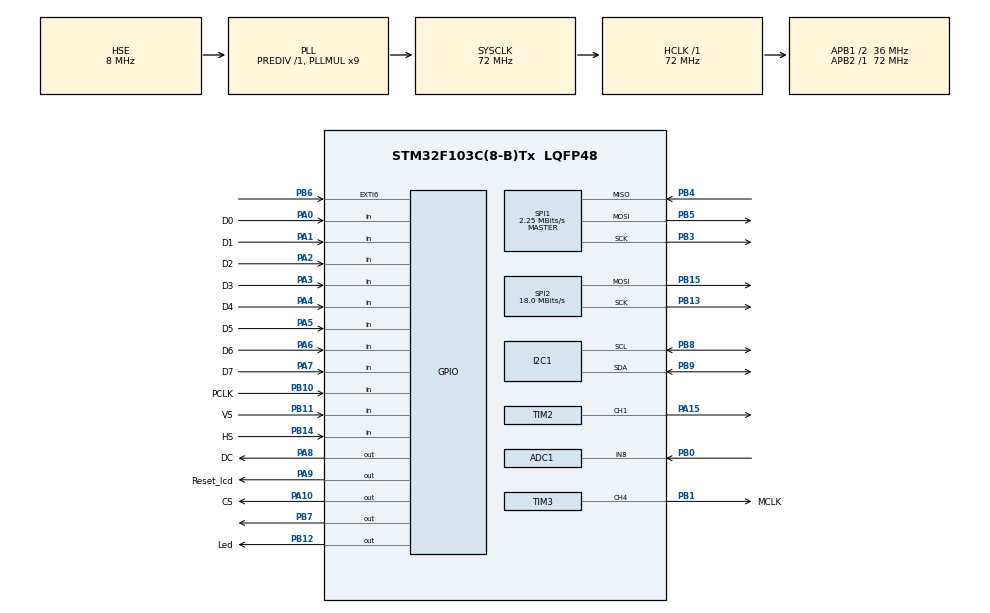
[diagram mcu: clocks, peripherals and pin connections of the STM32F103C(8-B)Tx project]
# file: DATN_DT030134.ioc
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ADC1.Channel-2\#ChannelRegularConversion=ADC_CHANNEL_8
ADC1.ContinuousConvMode=ENABLE
ADC1.NbrOfConversionFlag=1
ADC1.Rank-2\#ChannelRegularConversion=1
ADC1.SamplingTime-2\#ChannelRegularConversion=ADC_SAMPLETIME_239CYCLES_5
ADC1.master=1
Dma.ADC1.0.Direction=DMA_PERIPH_TO_MEMORY
Dma.ADC1.0.Instance=DMA1_Channel1
Dma.ADC1.0.MemDataAlignment=DMA_MDATAALIGN_HALFWORD
Dma.ADC1.0.MemInc=DMA_MINC_ENABLE
Dma.ADC1.0.Mode=DMA_CIRCULAR
Dma.ADC1.0.PeriphDataAlignment=DMA_PDATAALIGN_HALFWORD
Dma.ADC1.0.PeriphInc=DMA_PINC_DISABLE
Dma.ADC1.0.Priority=DMA_PRIORITY_VERY_HIGH
Dma.Request0=ADC1
Dma.Request1=TIM4_UP
Dma.TIM4_UP.1.Direction=DMA_MEMORY_TO_PERIPH
Dma.TIM4_UP.1.Instance=DMA1_Channel7
Dma.TIM4_UP.1.MemDataAlignment=DMA_MDATAALIGN_BYTE
Dma.TIM4_UP.1.MemInc=DMA_MINC_ENABLE
Dma.TIM4_UP.1.Mode=DMA_NORMAL
Dma.TIM4_UP.1.PeriphDataAlignment=DMA_PDATAALIGN_WORD
Dma.TIM4_UP.1.PeriphInc=DMA_PINC_DISABLE
Dma.TIM4_UP.1.Priority=DMA_PRIORITY_VERY_HIGH
FATFS._FS_LOCK=2
FATFS._FS_REENTRANT=0
FATFS._MAX_SS=512
FATFS._USE_LFN=0
FREERTOS.BinarySemaphores01=myBinarySem1,Dynamic,NULL
FREERTOS.Mutexes01=myMutex1,Dynamic,NULL
FREERTOS.Tasks01=defaultTask,3,128,StartDefaultTask,Default,NULL,Dynamic,NULL,NULL;myTask1,2,128,StartTask1,Default,NULL,Dynamic,NULL,NULL
I2C1.OwnAddress=0
Mcu.Family=STM32F1
Mcu.Name=STM32F103C(8-B)Tx
Mcu.Package=LQFP48
NVIC.DMA1_Channel1_IRQn=true\:5\:0\:false\:false\:true\:true\:false\:true\:true
NVIC.DMA1_Channel7_IRQn=true\:5\:0\:false\:false\:true\:true\:false\:true\:true
NVIC.EXTI9_5_IRQn=true\:5\:0\:false\:false\:true\:true\:true\:true\:true
NVIC.PriorityGroup=NVIC_PRIORITYGROUP_4
NVIC.TIM1_UP_IRQn=true\:15\:0\:false\:false\:true\:false\:false\:true\:true
NVIC.TimeBase=TIM1_UP_IRQn
NVIC.TimeBaseIP=TIM1
PA0-WKUP.GPIO_Label=D0
PA0-WKUP.Signal=GPIO_Input
PA1.GPIO_Label=D1
PA1.Signal=GPIO_Input
PA10.GPIO_Label=CS
PA10.GPIO_Speed=GPIO_SPEED_FREQ_LOW
PA10.Signal=GPIO_Output
PA13.Mode=Serial_Wire
PA13.Signal=SYS_JTMS-SWDIO
PA14.Mode=Serial_Wire
PA14.Signal=SYS_JTCK-SWCLK
PA15.Signal=S_TIM2_CH1_ETR
PA2.GPIO_Label=D2
PA2.Signal=GPIO_Input
PA3.GPIO_Label=D3
PA3.Signal=GPIO_Input
PA4.GPIO_Label=D4
PA4.Signal=GPIO_Input
PA5.GPIO_Label=D5
PA5.Signal=GPIO_Input
PA6.GPIO_Label=D6
PA6.Signal=GPIO_Input
PA7.GPIO_Label=D7
PA7.Signal=GPIO_Input
PA8.GPIO_Label=DC
PA8.Signal=GPIO_Output
PA9.GPIO_Label=Reset_lcd
PA9.Signal=GPIO_Output
PB0.Signal=ADCx_IN8
PB1.GPIO_Label=MCLK
PB1.Signal=S_TIM3_CH4
PB10.GPIO_Label=PCLK
PB10.Signal=GPIO_Input
PB11.GPIO_Label=VS
PB11.Signal=GPIO_Input
PB12.GPIO_Label=Led
PB12.Signal=GPIO_Output
PB13.Mode=TX_Only_Simplex_Unidirect_Master
PB13.Signal=SPI2_SCK
PB14.GPIO_Label=HS
PB14.Signal=GPIO_Input
PB15.Mode=TX_Only_Simplex_Unidirect_Master
PB15.Signal=SPI2_MOSI
PB3.Mode=Full_Duplex_Master
PB3.Signal=SPI1_SCK
PB4.Mode=Full_Duplex_Master
PB4.Signal=SPI1_MISO
PB5.Mode=Full_Duplex_Master
PB5.Signal=SPI1_MOSI
PB6.GPIO_PuPd=GPIO_PULLDOWN
PB6.Signal=GPXTI6
PB7.Signal=GPIO_Output
PB8.Mode=I2C
PB8.Signal=I2C1_SCL
PB9.Mode=I2C
PB9.Signal=I2C1_SDA
PD0-OSC_IN.Mode=HSE-External-Oscillator
PD0-OSC_IN.Signal=RCC_OSC_IN
PD1-OSC_OUT.Mode=HSE-External-Oscillator
PD1-OSC_OUT.Signal=RCC_OSC_OUT
ProjectManager.HeapSize=0x200
ProjectManager.StackSize=0x400
ProjectManager.TargetToolchain=MDK-ARM V5.32
RCC.ADCPresc=RCC_ADCPCLK2_DIV6
RCC.AHBFreq_Value=72000000
RCC.APB1CLKDivider=RCC_HCLK_DIV2
RCC.APB1Freq_Value=36000000
RCC.APB1TimFreq_Value=72000000
RCC.APB2Freq_Value=72000000
RCC.APB2TimFreq_Value=72000000
RCC.HCLKFreq_Value=72000000
RCC.PLLMUL=RCC_PLL_MUL9
RCC.PLLSourceVirtual=RCC_PLLSOURCE_HSE
RCC.SYSCLKFreq_VALUE=72000000
RCC.SYSCLKSource=RCC_SYSCLKSOURCE_PLLCLK
RCC.USBFreq_Value=72000000
SH.ADCx_IN8.0=ADC1_IN8,IN8
SH.S_TIM2_CH1_ETR.0=TIM2_CH1,PWM Generation1 CH1
SH.S_TIM3_CH4.0=TIM3_CH4,PWM Generation4 CH4
SPI1.BaudRatePrescaler=SPI_BAUDRATEPRESCALER_32
SPI1.CalculateBaudRate=2.25 MBits/s
SPI1.Direction=SPI_DIRECTION_2LINES
SPI1.Mode=SPI_MODE_MASTER
SPI1.VirtualType=VM_MASTER
SPI2.BaudRatePrescaler=SPI_BAUDRATEPRESCALER_2
SPI2.CalculateBaudRate=18.0 MBits/s
SPI2.Direction=SPI_DIRECTION_2LINES
SPI2.Mode=SPI_MODE_MASTER
SPI2.VirtualType=VM_MASTER
TIM2.Channel-PWM\ Generation1\ CH1=TIM_CHANNEL_1
TIM2.Period=255
TIM3.AutoReloadPreload=TIM_AUTORELOAD_PRELOAD_ENABLE
TIM3.Channel-PWM\ Generation4\ CH4=TIM_CHANNEL_4
TIM3.Period=3
TIM3.Prescaler=1
TIM4.Period=1599
TIM4.Prescaler=0
VP_FATFS_VS_Generic.Mode=User_defined
VP_FREERTOS_VS_CMSIS_V1.Mode=CMSIS_V1
VP_SYS_VS_tim1.Mode=TIM1
VP_TIM3_VS_ClockSourceINT.Mode=Internal
VP_TIM4_VS_ClockSourceINT.Mode=Internal
board=custom

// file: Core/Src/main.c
/* USER CODE BEGIN Header */
/**
  ******************************************************************************
  * @file           : main.c
  * @brief          : Main program body
  ******************************************************************************
  * @attention
  *
  * Copyright (c) 2024 STMicroelectronics.
  * All rights reserved.
  *
  * This software is licensed under terms that can be found in the LICENSE file
  * in the root directory of this software component.
  * If no LICENSE file comes with this software, it is provided AS-IS.
  *
  ******************************************************************************
  */
/* USER CODE END Header */
#include "main.h"
#include "cmsis_os.h"
#include "fatfs.h"

/* USER CODE BEGIN Includes */
#include <stdio.h>
#include <string.h>
#include "st7735s.h"
#include "ov7670.h"
#include "fatfs_sd.h"
/* USER CODE END Includes */

/* USER CODE BEGIN PTD */
typedef struct {
    uint8_t adc_status : 1; // 0 = write adc to mem, 1 = emit pwm
    uint16_t count : 14;
		uint8_t status_adc_start_dma : 1;
} adc_follow;
/* USER CODE END PTD */

/* USER CODE BEGIN PD */
#define ADC_SIZE  3584
/* USER CODE END PD */

ADC_HandleTypeDef hadc1;
DMA_HandleTypeDef hdma_adc1;

I2C_HandleTypeDef hi2c1;

SPI_HandleTypeDef hspi1;
SPI_HandleTypeDef hspi2;

TIM_HandleTypeDef htim2;
TIM_HandleTypeDef htim3;
TIM_HandleTypeDef htim4;
DMA_HandleTypeDef hdma_tim4_up;

osThreadId defaultTaskHandle;
osThreadId myTask1Handle;
osMutexId myMutex1Handle;
osSemaphoreId myBinarySem1Handle;
/* USER CODE BEGIN PV */
adc_follow adc_fl;
uint8_t adcBuff[ADC_SIZE];
uint16_t adcBuff0[ADC_SIZE];

FATFS   fs;      // file system
FIL     fil;     // File
FRESULT fresult; // result

/* USER CODE END PV */

void SystemClock_Config(void);
static void MX_GPIO_Init(void);
static void MX_DMA_Init(void);
static void MX_SPI2_Init(void);
static void MX_I2C1_Init(void);
static void MX_ADC1_Init(void);
static void MX_TIM3_Init(void);
static void MX_TIM4_Init(void);
static void MX_SPI1_Init(void);
static void MX_TIM2_Init(void);
void StartDefaultTask(void const * argument);
void StartTask1(void const * argument);

/* USER CODE BEGIN PFP */
static void time4_ReInit_8KHz(void);
/* USER CODE END PFP */

/* USER CODE BEGIN 0 */
void HAL_GPIO_EXTI_Callback(uint16_t GPIO_Pin){
	if(GPIO_Pin == GPIO_PIN_6){
		f_close(&fil);if(fresult!=FR_OK)return;
		HAL_SPI_DeInit(&hspi1);
	}
}
/* USER CODE END 0 */

int main(void)
{
  /* USER CODE BEGIN 1 */
	adc_fl.adc_status = 0;
	adc_fl.count = 0;
	adc_fl.status_adc_start_dma = 0;
  /* USER CODE END 1 */

  /* MCU Configuration--------------------------------------------------------*/

  /* Reset of all peripherals, Initializes the Flash interface and the Systick. */
  HAL_Init();

  /* Configure the system clock */
  SystemClock_Config();

  /* Initialize all configured peripherals */
  MX_GPIO_Init();
  MX_DMA_Init();
  MX_SPI2_Init();
  MX_I2C1_Init();
  MX_ADC1_Init();
  MX_TIM3_Init();
  MX_TIM4_Init();
  MX_SPI1_Init();
  MX_FATFS_Init();
  MX_TIM2_Init();
  /* USER CODE BEGIN 2 */
	HAL_GPIO_WritePin(GPIOB,Led_Pin,ON_LED);
	HAL_GPIO_WritePin(GPIOA,Reset_lcd_Pin,NO_RESX);

	HAL_TIM_PWM_Start(&htim3, TIM_CHANNEL_4);      // Start emit pulse  with frequency 3MHz
	__HAL_TIM_SetCompare(&htim3,TIM_CHANNEL_4,2);  // adjust PWM 50% duty cycle

	ST7735S_Init();             // initial Screen
	OV7670_Init();			        // initial Camera
	HAL_I2C_MspDeInit(&hi2c1);  // disable I2C
	time4_ReInit_8KHz();

	fresult = f_mount(&fs, "/", 1);if(fresult!=FR_OK)return 0;
	fresult = f_open(&fil, "data.txt", FA_OPEN_ALWAYS | FA_READ | FA_WRITE);if(fresult!=FR_OK)return 0;
	f_lseek(&fil,f_size(&fil));if(fresult!=FR_OK)return 0;
//	f_puts("abcdef", &fil);
//	fresult = f_close(&fil);

	HAL_TIM_PWM_Start(&htim2,TIM_CHANNEL_1);
	__HAL_TIM_ENABLE_DMA(&htim4, TIM_DMA_UPDATE); //bat DMA tim up cho timer4
	HAL_TIM_Base_Start_IT(&htim4); // Khoi dong timer o che do ngat (khong kich hoat ngat)
  /* USER CODE END 2 */

  /* Create the mutex(es) */
  /* definition and creation of myMutex1 */
  osMutexDef(myMutex1);
  myMutex1Handle = osMutexCreate(osMutex(myMutex1));

  /* Create the semaphores(s) */
  /* definition and creation of myBinarySem1 */
  osSemaphoreDef(myBinarySem1);
  myBinarySem1Handle = osSemaphoreCreate(osSemaphore(myBinarySem1), 1);

  /* Create the thread(s) */
  /* definition and creation of defaultTask */
  osThreadDef(defaultTask, StartDefaultTask, osPriorityRealtime, 0, 128);
  defaultTaskHandle = osThreadCreate(osThread(defaultTask), NULL);

  /* definition and creation of myTask1 */
  osThreadDef(myTask1, StartTask1, osPriorityHigh, 0, 128);
  myTask1Handle = osThreadCreate(osThread(myTask1), NULL);

  /* Start scheduler */
  osKernelStart();

  /* We should never get here as control is now taken by the scheduler */
  /* Infinite loop */
  while (1)
  {

  }
}

void SystemClock_Config(void)
{
  RCC_OscInitTypeDef RCC_OscInitStruct = {0};
  RCC_ClkInitTypeDef RCC_ClkInitStruct = {0};
  RCC_PeriphCLKInitTypeDef PeriphClkInit = {0};

  /** Initializes the RCC Oscillators according to the specified parameters
  * in the RCC_OscInitTypeDef structure.
  */
  RCC_OscInitStruct.OscillatorType = RCC_OSCILLATORTYPE_HSE;
  RCC_OscInitStruct.HSEState = RCC_HSE_ON;
  RCC_OscInitStruct.HSEPredivValue = RCC_HSE_PREDIV_DIV1;
  RCC_OscInitStruct.HSIState = RCC_HSI_ON;
  RCC_OscInitStruct.PLL.PLLState = RCC_PLL_ON;
  RCC_OscInitStruct.PLL.PLLSource = RCC_PLLSOURCE_HSE;
  RCC_OscInitStruct.PLL.PLLMUL = RCC_PLL_MUL9;
  if (HAL_RCC_OscConfig(&RCC_OscInitStruct) != HAL_OK)
  {
    Error_Handler();
  }

  /** Initializes the CPU, AHB and APB buses clocks
  */
  RCC_ClkInitStruct.ClockType = RCC_CLOCKTYPE_HCLK|RCC_CLOCKTYPE_SYSCLK
                              |RCC_CLOCKTYPE_PCLK1|RCC_CLOCKTYPE_PCLK2;
  RCC_ClkInitStruct.SYSCLKSource = RCC_SYSCLKSOURCE_PLLCLK;
  RCC_ClkInitStruct.AHBCLKDivider = RCC_SYSCLK_DIV1;
  RCC_ClkInitStruct.APB1CLKDivider = RCC_HCLK_DIV2;
  RCC_ClkInitStruct.APB2CLKDivider = RCC_HCLK_DIV1;

  if (HAL_RCC_ClockConfig(&RCC_ClkInitStruct, FLASH_LATENCY_2) != HAL_OK)
  {
    Error_Handler();
  }
  PeriphClkInit.PeriphClockSelection = RCC_PERIPHCLK_ADC;
  PeriphClkInit.AdcClockSelection = RCC_ADCPCLK2_DIV6;
  if (HAL_RCCEx_PeriphCLKConfig(&PeriphClkInit) != HAL_OK)
  {
    Error_Handler();
  }
}

static void MX_ADC1_Init(void)
{

  ADC_ChannelConfTypeDef sConfig = {0};

  /** Common config
  */
  hadc1.Instance = ADC1;
  hadc1.Init.ScanConvMode = ADC_SCAN_DISABLE;
  hadc1.Init.ContinuousConvMode = ENABLE;
  hadc1.Init.DiscontinuousConvMode = DISABLE;
  hadc1.Init.ExternalTrigConv = ADC_SOFTWARE_START;
  hadc1.Init.DataAlign = ADC_DATAALIGN_RIGHT;
  hadc1.Init.NbrOfConversion = 1;
  if (HAL_ADC_Init(&hadc1) != HAL_OK)
  {
    Error_Handler();
  }

  /** Configure Regular Channel
  */
  sConfig.Channel = ADC_CHANNEL_8;
  sConfig.Rank = ADC_REGULAR_RANK_1;
  sConfig.SamplingTime = ADC_SAMPLETIME_239CYCLES_5;
  if (HAL_ADC_ConfigChannel(&hadc1, &sConfig) != HAL_OK)
  {
    Error_Handler();
  }

}

static void MX_I2C1_Init(void)
{

  hi2c1.Instance = I2C1;
  hi2c1.Init.ClockSpeed = 100000;
  hi2c1.Init.DutyCycle = I2C_DUTYCYCLE_2;
  hi2c1.Init.OwnAddress1 = 0;
  hi2c1.Init.AddressingMode = I2C_ADDRESSINGMODE_7BIT;
  hi2c1.Init.DualAddressMode = I2C_DUALADDRESS_DISABLE;
  hi2c1.Init.OwnAddress2 = 0;
  hi2c1.Init.GeneralCallMode = I2C_GENERALCALL_DISABLE;
  hi2c1.Init.NoStretchMode = I2C_NOSTRETCH_DISABLE;
  if (HAL_I2C_Init(&hi2c1) != HAL_OK)
  {
    Error_Handler();
  }
  /* USER CODE BEGIN I2C1_Init 2 */
	if(I2C1->SR2 & I2C_SR2_BUSY){error_led();}
  /* USER CODE END I2C1_Init 2 */

}

static void MX_SPI1_Init(void)
{

  /* SPI1 parameter configuration*/
  hspi1.Instance = SPI1;
  hspi1.Init.Mode = SPI_MODE_MASTER;
  hspi1.Init.Direction = SPI_DIRECTION_2LINES;
  hspi1.Init.DataSize = SPI_DATASIZE_8BIT;
  hspi1.Init.CLKPolarity = SPI_POLARITY_LOW;
  hspi1.Init.CLKPhase = SPI_PHASE_1EDGE;
  hspi1.Init.NSS = SPI_NSS_SOFT;
  hspi1.Init.BaudRatePrescaler = SPI_BAUDRATEPRESCALER_32;
  hspi1.Init.FirstBit = SPI_FIRSTBIT_MSB;
  hspi1.Init.TIMode = SPI_TIMODE_DISABLE;
  hspi1.Init.CRCCalculation = SPI_CRCCALCULATION_DISABLE;
  hspi1.Init.CRCPolynomial = 10;
  if (HAL_SPI_Init(&hspi1) != HAL_OK)
  {
    Error_Handler();
  }

}

static void MX_SPI2_Init(void)
{

  /* SPI2 parameter configuration*/
  hspi2.Instance = SPI2;
  hspi2.Init.Mode = SPI_MODE_MASTER;
  hspi2.Init.Direction = SPI_DIRECTION_2LINES;
  hspi2.Init.DataSize = SPI_DATASIZE_8BIT;
  hspi2.Init.CLKPolarity = SPI_POLARITY_LOW;
  hspi2.Init.CLKPhase = SPI_PHASE_1EDGE;
  hspi2.Init.NSS = SPI_NSS_SOFT;
  hspi2.Init.BaudRatePrescaler = SPI_BAUDRATEPRESCALER_2;
  hspi2.Init.FirstBit = SPI_FIRSTBIT_MSB;
  hspi2.Init.TIMode = SPI_TIMODE_DISABLE;
  hspi2.Init.CRCCalculation = SPI_CRCCALCULATION_DISABLE;
  hspi2.Init.CRCPolynomial = 10;
  if (HAL_SPI_Init(&hspi2) != HAL_OK)
  {
    Error_Handler();
  }

}

static void MX_TIM2_Init(void)
{

  TIM_MasterConfigTypeDef sMasterConfig = {0};
  TIM_OC_InitTypeDef sConfigOC = {0};

  htim2.Instance = TIM2;
  htim2.Init.Prescaler = 0;
  htim2.Init.CounterMode = TIM_COUNTERMODE_UP;
  htim2.Init.Period = 255;
  htim2.Init.ClockDivision = TIM_CLOCKDIVISION_DIV1;
  htim2.Init.AutoReloadPreload = TIM_AUTORELOAD_PRELOAD_DISABLE;
  if (HAL_TIM_PWM_Init(&htim2) != HAL_OK)
  {
    Error_Handler();
  }
  sMasterConfig.MasterOutputTrigger = TIM_TRGO_RESET;
  sMasterConfig.MasterSlaveMode = TIM_MASTERSLAVEMODE_DISABLE;
  if (HAL_TIMEx_MasterConfigSynchronization(&htim2, &sMasterConfig) != HAL_OK)
  {
    Error_Handler();
  }
  sConfigOC.OCMode = TIM_OCMODE_PWM1;
  sConfigOC.Pulse = 0;
  sConfigOC.OCPolarity = TIM_OCPOLARITY_HIGH;
  sConfigOC.OCFastMode = TIM_OCFAST_DISABLE;
  if (HAL_TIM_PWM_ConfigChannel(&htim2, &sConfigOC, TIM_CHANNEL_1) != HAL_OK)
  {
    Error_Handler();
  }
  HAL_TIM_MspPostInit(&htim2);

}

static void MX_TIM3_Init(void)
{

  TIM_ClockConfigTypeDef sClockSourceConfig = {0};
  TIM_MasterConfigTypeDef sMasterConfig = {0};
  TIM_OC_InitTypeDef sConfigOC = {0};

  htim3.Instance = TIM3;
  htim3.Init.Prescaler = 1;
  htim3.Init.CounterMode = TIM_COUNTERMODE_UP;
  htim3.Init.Period = 3;
  htim3.Init.ClockDivision = TIM_CLOCKDIVISION_DIV1;
  htim3.Init.AutoReloadPreload = TIM_AUTORELOAD_PRELOAD_ENABLE;
  if (HAL_TIM_Base_Init(&htim3) != HAL_OK)
  {
    Error_Handler();
  }
  sClockSourceConfig.ClockSource = TIM_CLOCKSOURCE_INTERNAL;
  if (HAL_TIM_ConfigClockSource(&htim3, &sClockSourceConfig) != HAL_OK)
  {
    Error_Handler();
  }
  if (HAL_TIM_PWM_Init(&htim3) != HAL_OK)
  {
    Error_Handler();
  }
  sMasterConfig.MasterOutputTrigger = TIM_TRGO_RESET;
  sMasterConfig.MasterSlaveMode = TIM_MASTERSLAVEMODE_DISABLE;
  if (HAL_TIMEx_MasterConfigSynchronization(&htim3, &sMasterConfig) != HAL_OK)
  {
    Error_Handler();
  }
  sConfigOC.OCMode = TIM_OCMODE_PWM1;
  sConfigOC.Pulse = 0;
  sConfigOC.OCPolarity = TIM_OCPOLARITY_HIGH;
  sConfigOC.OCFastMode = TIM_OCFAST_DISABLE;
  if (HAL_TIM_PWM_ConfigChannel(&htim3, &sConfigOC, TIM_CHANNEL_4) != HAL_OK)
  {
    Error_Handler();
  }
  HAL_TIM_MspPostInit(&htim3);

}

static void MX_TIM4_Init(void)
{

  TIM_ClockConfigTypeDef sClockSourceConfig = {0};
  TIM_MasterConfigTypeDef sMasterConfig = {0};

  htim4.Instance = TIM4;
  htim4.Init.Prescaler = 0;
  htim4.Init.CounterMode = TIM_COUNTERMODE_UP;
  htim4.Init.Period = 1599;
  htim4.Init.ClockDivision = TIM_CLOCKDIVISION_DIV1;
  htim4.Init.AutoReloadPreload = TIM_AUTORELOAD_PRELOAD_DISABLE;
  if (HAL_TIM_Base_Init(&htim4) != HAL_OK)
  {
    Error_Handler();
  }
  sClockSourceConfig.ClockSource = TIM_CLOCKSOURCE_INTERNAL;
  if (HAL_TIM_ConfigClockSource(&htim4, &sClockSourceConfig) != HAL_OK)
  {
    Error_Handler();
  }
  sMasterConfig.MasterOutputTrigger = TIM_TRGO_RESET;
  sMasterConfig.MasterSlaveMode = TIM_MASTERSLAVEMODE_DISABLE;
  if (HAL_TIMEx_MasterConfigSynchronization(&htim4, &sMasterConfig) != HAL_OK)
  {
    Error_Handler();
  }

}

static void MX_DMA_Init(void)
{

  /* DMA controller clock enable */
  __HAL_RCC_DMA1_CLK_ENABLE();

  /* DMA interrupt init */
  /* DMA1_Channel1_IRQn interrupt configuration */
  HAL_NVIC_SetPriority(DMA1_Channel1_IRQn, 5, 0);
  HAL_NVIC_EnableIRQ(DMA1_Channel1_IRQn);
  /* DMA1_Channel7_IRQn interrupt configuration */
  HAL_NVIC_SetPriority(DMA1_Channel7_IRQn, 5, 0);
  HAL_NVIC_EnableIRQ(DMA1_Channel7_IRQn);

}

static void MX_GPIO_Init(void)
{
  GPIO_InitTypeDef GPIO_InitStruct = {0};

  /* GPIO Ports Clock Enable */
  __HAL_RCC_GPIOD_CLK_ENABLE();
  __HAL_RCC_GPIOA_CLK_ENABLE();
  __HAL_RCC_GPIOB_CLK_ENABLE();

  /*Configure GPIO pin Output Level */
  HAL_GPIO_WritePin(GPIOB, Led_Pin|GPIO_PIN_7, GPIO_PIN_RESET);

  /*Configure GPIO pin Output Level */
  HAL_GPIO_WritePin(GPIOA, DC_Pin|Reset_lcd_Pin|CS_Pin, GPIO_PIN_RESET);

  /*Configure GPIO pins : D0_Pin D1_Pin D2_Pin D3_Pin
                           D4_Pin D5_Pin D6_Pin D7_Pin */
  GPIO_InitStruct.Pin = D0_Pin|D1_Pin|D2_Pin|D3_Pin
                          |D4_Pin|D5_Pin|D6_Pin|D7_Pin;
  GPIO_InitStruct.Mode = GPIO_MODE_INPUT;
  GPIO_InitStruct.Pull = GPIO_NOPULL;
  HAL_GPIO_Init(GPIOA, &GPIO_InitStruct);

  /*Configure GPIO pins : PCLK_Pin VS_Pin HS_Pin */
  GPIO_InitStruct.Pin = PCLK_Pin|VS_Pin|HS_Pin;
  GPIO_InitStruct.Mode = GPIO_MODE_INPUT;
  GPIO_InitStruct.Pull = GPIO_NOPULL;
  HAL_GPIO_Init(GPIOB, &GPIO_InitStruct);

  /*Configure GPIO pins : Led_Pin PB7 */
  GPIO_InitStruct.Pin = Led_Pin|GPIO_PIN_7;
  GPIO_InitStruct.Mode = GPIO_MODE_OUTPUT_PP;
  GPIO_InitStruct.Pull = GPIO_NOPULL;
  GPIO_InitStruct.Speed = GPIO_SPEED_FREQ_LOW;
  HAL_GPIO_Init(GPIOB, &GPIO_InitStruct);

  /*Configure GPIO pins : DC_Pin Reset_lcd_Pin CS_Pin */
  GPIO_InitStruct.Pin = DC_Pin|Reset_lcd_Pin|CS_Pin;
  GPIO_InitStruct.Mode = GPIO_MODE_OUTPUT_PP;
  GPIO_InitStruct.Pull = GPIO_NOPULL;
  GPIO_InitStruct.Speed = GPIO_SPEED_FREQ_LOW;
  HAL_GPIO_Init(GPIOA, &GPIO_InitStruct);

  /*Configure GPIO pin : PB6 */
  GPIO_InitStruct.Pin = GPIO_PIN_6;
  GPIO_InitStruct.Mode = GPIO_MODE_IT_RISING;
  GPIO_InitStruct.Pull = GPIO_PULLDOWN;
  HAL_GPIO_Init(GPIOB, &GPIO_InitStruct);

  /* EXTI interrupt init*/
  HAL_NVIC_SetPriority(EXTI9_5_IRQn, 5, 0);
  HAL_NVIC_EnableIRQ(EXTI9_5_IRQn);

}

/* USER CODE BEGIN 4 */
void delay_us (uint16_t us){
	// Enable Timer 4 clock
	 RCC->APB1ENR |= RCC_APB1ENR_TIM4EN;

    // Configure Timer 4
    TIM4->CR1 = 0; // Reset control register 1
    TIM4->PSC = 72 - 1; // Set prescaler to get 1us resolution
    TIM4->ARR = us; // Set auto-reload value
    TIM4->EGR = TIM_EGR_UG; // Update generation
    TIM4->SR &= ~TIM_SR_UIF; // Clear update interrupt flag

    // Start Timer 4
    TIM4->CR1 |= TIM_CR1_CEN;

    // Wait until the update event occurs
    while (!(TIM4->SR & TIM_SR_UIF));

    // Stop Timer 4
    TIM4->CR1 &= ~TIM_CR1_CEN;

    // Disable Timer 4 clock
    RCC->APB1ENR &= ~RCC_APB1ENR_TIM4EN;

		time4_ReInit_8KHz();
}

void delay_ms(uint16_t ms){
	uint8_t count = 10;
	while(count > 0){
	// Enable Timer 4 clock
    RCC->APB1ENR |= RCC_APB1ENR_TIM4EN;

    // Configure Timer 4
    TIM4->CR1 = 0; // Reset control register 1
    TIM4->PSC = 7200 - 1; // Set prescaler to get 1ms resolution
    TIM4->ARR = ms; // Set auto-reload value
    TIM4->EGR = TIM_EGR_UG; // Update generation
    TIM4->SR &= ~TIM_SR_UIF; // Clear update interrupt flag

    // Start Timer 4
    TIM4->CR1 |= TIM_CR1_CEN;

    // Wait until the update event occurs
    while (!(TIM4->SR & TIM_SR_UIF));

    // Stop Timer 4
    TIM4->CR1 &= ~TIM_CR1_CEN;

    // Disable Timer 4 clock
    RCC->APB1ENR &= ~RCC_APB1ENR_TIM4EN;
		count--;
	}
	time4_ReInit_8KHz();
}

static void time4_ReInit_8KHz(void){
	RCC->APB1ENR |= RCC_APB1ENR_TIM4EN;
	TIM4->PSC = 0;                   // prescale
	TIM4->ARR = 1511;                  // counter period
	TIM4->CR1 &= ~TIM_CR1_DIR;          // up conting
	TIM4->DIER |= TIM_DIER_UIE;         // active interrup timer
//	TIM4->CR1 |= TIM_CR1_CEN;           // enable timer
//	NVIC_SetPriority(TIM4_IRQn, 0);
//	NVIC_EnableIRQ(TIM4_IRQn);
}

void error_led(void){
	RCC->APB2ENR |= 0x10;		// clock Enable register CD001171190.pdf -p.111
	GPIOC->CRH |= 0x00300000; // Port out data register CD001171190.pdf -p.171
	while(1){
		GPIOC->ODR ^= 0x2000;
		delay_ms(100);
	}
}

void HAL_ADC_ConvCpltCallback(ADC_HandleTypeDef *hadc){ // sau khi chuyen doi adc xong
	BaseType_t xHigherPriorityTaskWoken = pdFALSE;
//	if(adc_fl.status_adc_start_dma == 1){
//		adc_fl.status_adc_start_dma = 0;
//		HAL_ADC_Stop_DMA(hadc);
//	}
	adc_fl.adc_status = 1;
	xSemaphoreGiveFromISR(myBinarySem1Handle,&xHigherPriorityTaskWoken); // nhay vao task1
	portYIELD_FROM_ISR(xHigherPriorityTaskWoken); // bat dau nhay vao task co do uu tien cao nhat
}
/* USER CODE END 4 */

void StartDefaultTask(void const * argument)
{
  /* USER CODE BEGIN 5 */

  /* Infinite loop */
  for(;;)
  {
		if(xSemaphoreTake(myMutex1Handle, portMAX_DELAY)== pdTRUE){ // Lock Mutex
			//HAL_SPI_Init(&hspi1);
			#ifdef exchange_display
				__disable_irq();
				get_frame(160,120);
				__enable_irq();
			#else
				__disable_irq();
				get_frame(120,160);
				__enable_irq();
			#endif
			if(adc_fl.status_adc_start_dma == 0){
				adc_fl.status_adc_start_dma = 1;
				HAL_ADC_Start_DMA(&hadc1,(uint32_t*)adcBuff0, ADC_SIZE);
			}
			xSemaphoreGive(myMutex1Handle); // Unlock mutex
		}
    osDelay(1);
  }
  /* USER CODE END 5 */
}

void StartTask1(void const * argument)
{
  /* USER CODE BEGIN StartTask1 */
  /* Infinite loop */
  for(;;)
  {
		/* Wait for new audio data*/
		if(xSemaphoreTake(myBinarySem1Handle, portMAX_DELAY) == pdTRUE){
			// Lock mutex
			if(xSemaphoreTake(myMutex1Handle, portMAX_DELAY) == pdTRUE){
				// Convert 12 to 8 bit
				while(adc_fl.count != ADC_SIZE){
					adcBuff[adc_fl.count] = (uint8_t)(adcBuff0[adc_fl.count] >> 4);
					adc_fl.count++;
				}
				adc_fl.count=0;
				// Start emit audio
				HAL_DMA_Abort(&hdma_tim4_up);
				HAL_DMA_Start_IT(&hdma_tim4_up,(uint32_t)(adcBuff),(uint32_t)&(TIM2->CCR1),ADC_SIZE);
				// Unlock mutex
				xSemaphoreGive(myMutex1Handle);
			}
		}
  }
  /* USER CODE END StartTask1 */
}

void HAL_TIM_PeriodElapsedCallback(TIM_HandleTypeDef *htim)
{
  if (htim->Instance == TIM1) {
    HAL_IncTick();
  }
  /* USER CODE BEGIN Callback 1 */
	else return;
  /* USER CODE END Callback 1 */
}

void Error_Handler(void)
{
  __disable_irq();
  while (1)
  {
  }
}
